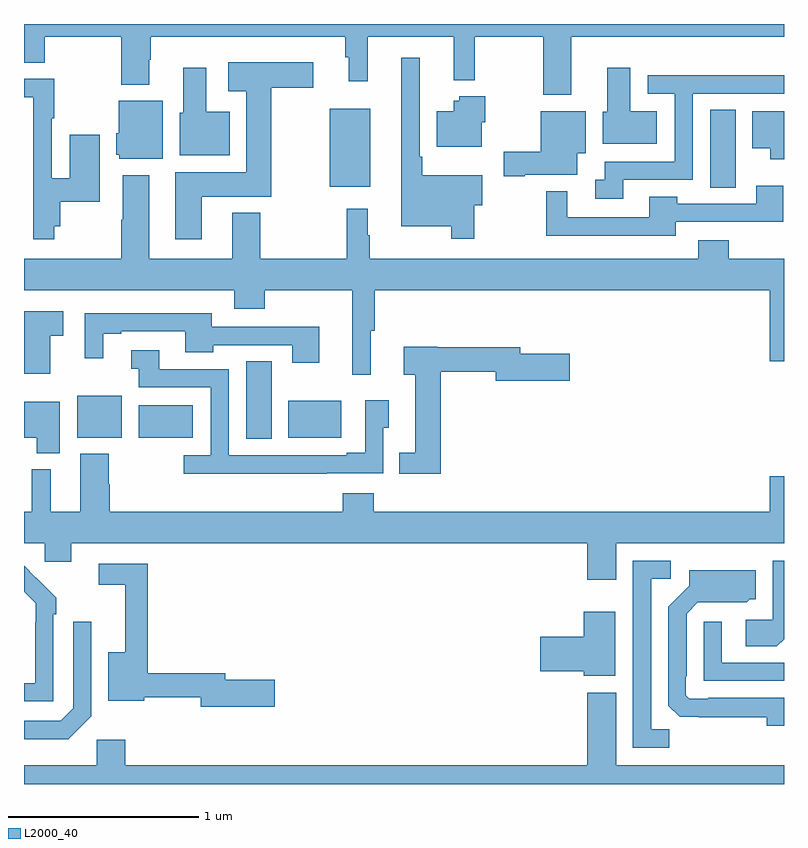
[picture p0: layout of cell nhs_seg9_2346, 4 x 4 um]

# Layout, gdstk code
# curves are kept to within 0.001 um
import gdstk
lib = gdstk.Library(unit=1e-6, precision=1e-09)
def R(c, l, rs):  # rectangles x0, y0, x1, y1
    for r in rs: c.add(gdstk.rectangle(r[:2], r[2:], *l))
def P(c, l, *ps):  # polygons
    for p in ps: c.add(gdstk.Polygon(p, *l))
L2000_40 = (2000, 40)

nhs_seg9_2346 = lib.new_cell('nhs_seg9_2346')
R(nhs_seg9_2346, L2000_40, [(246.17,1182.316,246.304,1182.725), (245.279,1182.323,245.515,1182.544), (245.603,1182.323,245.887,1182.493), (246.392,1182.323,246.67,1182.517), (248.612,1183.639,248.746,1184.048), (246.608,1183.643,246.823,1184.053)])
P(nhs_seg9_2346, L2000_40, [(247.879,1184.432),(249,1184.432),(249,1184.5),(245,1184.5),(245,1184.296),(245.109,1184.296),(245.109,1184.432),(245.512,1184.432),(245.512,1184.18),(245.659,1184.18),(245.659,1184.312),(245.667,1184.312),(245.667,1184.432),(246.691,1184.432),(246.691,1184.324),(246.71,1184.324),(246.71,1184.199),(246.809,1184.199),(246.809,1184.432),(247.262,1184.432),(247.262,1184.204),(247.372,1184.204),(247.372,1184.432),(247.732,1184.432),(247.732,1184.127),(247.879,1184.127)],
  [(247.369,1183.547),(247.411,1183.547),(247.411,1183.705),(247.096,1183.705),(247.096,1183.801),(247.083,1183.801),(247.083,1184.323),(246.986,1184.323),(246.986,1183.436),(247.248,1183.436),(247.248,1183.371),(247.369,1183.371)],
  [(245.935,1183.592),(246.3,1183.592),(246.3,1184.165),(246.523,1184.165),(246.523,1184.299),(246.075,1184.299),(246.075,1184.147),(246.17,1184.147),(246.17,1183.72),(245.795,1183.72),(245.795,1183.368),(245.935,1183.368)],
  [(246.082,1184.038),(245.959,1184.038),(245.959,1184.269),(245.837,1184.269),(245.837,1184.034),(245.819,1184.034),(245.819,1183.808),(246.082,1183.808)],
  [(248.329,1184.041),(248.191,1184.041),(248.191,1184.269),(248.069,1184.269),(248.069,1184.037),(248.045,1184.037),(248.045,1183.871),(248.329,1183.871)],
  [(248.155,1183.68),(248.52,1183.68),(248.52,1184.133),(249,1184.133),(249,1184.231),(248.283,1184.231),(248.283,1184.133),(248.424,1184.133),(248.424,1183.776),(248.057,1183.776),(248.057,1183.679),(248.007,1183.679),(248.007,1183.581),(248.155,1183.581)],
  [(245.158,1183.436),(245.19,1183.436),(245.19,1183.565),(245.398,1183.565),(245.398,1183.918),(245.24,1183.918),(245.24,1183.688),(245.145,1183.688),(245.145,1184.005),(245.158,1184.005),(245.158,1184.211),(245,1184.211),(245,1184.115),(245.049,1184.115),(245.049,1183.368),(245.158,1183.368)],
  [(247.408,1183.983),(247.428,1183.983),(247.428,1184.119),(247.29,1184.119),(247.29,1184.097),(247.262,1184.097),(247.262,1184.041),(247.172,1184.041),(247.172,1183.853),(247.408,1183.853)],
  [(245.731,1184.095),(245.498,1184.095),(245.498,1183.926),(245.486,1183.926),(245.486,1183.812),(245.502,1183.812),(245.502,1183.79),(245.731,1183.79)],
  [(247.636,1183.706),(247.912,1183.706),(247.912,1183.82),(247.957,1183.82),(247.957,1184.041),(247.721,1184.041),(247.721,1183.828),(247.524,1183.828),(247.524,1183.699),(247.636,1183.699)],
  [(249,1184.041),(248.834,1184.041),(248.834,1183.847),(248.927,1183.847),(248.927,1183.787),(249,1183.787)],
  [(246.826,1182.885),(246.845,1182.885),(246.845,1183.1),(248.924,1183.1),(248.924,1182.726),(249,1182.726),(249,1183.264),(248.709,1183.264),(248.709,1183.363),(248.549,1183.363),(248.549,1183.264),(246.82,1183.264),(246.82,1183.388),(246.808,1183.388),(246.808,1183.528),(246.699,1183.528),(246.699,1183.264),(246.243,1183.264),(246.243,1183.507),(246.095,1183.507),(246.095,1183.264),(245.659,1183.264),(245.659,1183.705),(245.519,1183.705),(245.519,1183.469),(245.512,1183.469),(245.512,1183.264),(245,1183.264),(245,1183.1),(246.107,1183.1),(246.107,1183.001),(246.267,1183.001),(246.267,1183.1),(246.728,1183.1),(246.728,1182.654),(246.826,1182.654)],
  [(248.431,1183.458),(248.995,1183.458),(248.995,1183.648),(248.855,1183.648),(248.855,1183.554),(248.439,1183.554),(248.439,1183.591),(248.291,1183.591),(248.291,1183.482),(247.858,1183.482),(247.858,1183.621),(247.749,1183.621),(247.749,1183.386),(248.431,1183.386)],
  [(245.137,1182.859),(245.206,1182.859),(245.206,1182.988),(245,1182.988),(245,1182.659),(245.137,1182.659)],
  [(246.553,1182.906),(245.989,1182.906),(245.989,1182.978),(245.319,1182.978),(245.319,1182.741),(245.416,1182.741),(245.416,1182.87),(245.512,1182.87),(245.512,1182.882),(245.849,1182.882),(245.849,1182.773),(245.997,1182.773),(245.997,1182.81),(246.413,1182.81),(246.413,1182.717),(246.553,1182.717)],
  [(247.193,1182.67),(247.484,1182.67),(247.484,1182.623),(247.873,1182.623),(247.873,1182.765),(247.612,1182.765),(247.612,1182.799),(247.176,1182.799),(247.176,1182.802),(246.999,1182.802),(246.999,1182.655),(247.058,1182.655),(247.058,1182.244),(246.976,1182.244),(246.976,1182.134),(247.193,1182.134)],
  [(246.593,1182.135),(246.891,1182.135),(246.891,1182.375),(246.919,1182.375),(246.919,1182.52),(246.795,1182.52),(246.795,1182.244),(246.698,1182.244),(246.698,1182.231),(246.078,1182.231),(246.078,1182.684),(245.713,1182.684),(245.713,1182.783),(245.565,1182.783),(245.565,1182.686),(245.604,1182.686),(245.604,1182.588),(245.982,1182.588),(245.982,1182.231),(245.841,1182.231),(245.841,1182.134),(246.593,1182.134)],
  [(245.188,1182.511),(245,1182.511),(245,1182.323),(245.066,1182.323),(245.066,1182.242),(245.188,1182.242)],
  [(248.116,1181.768),(249,1181.768),(249,1182.121),(248.924,1182.121),(248.924,1181.932),(246.842,1181.932),(246.842,1182.031),(246.677,1182.031),(246.677,1181.932),(245.45,1181.932),(245.45,1182.077),(245.445,1182.077),(245.445,1182.238),(245.297,1182.238),(245.297,1181.932),(245.14,1181.932),(245.14,1182.157),(245.042,1182.157),(245.042,1181.932),(245,1181.932),(245,1181.768),(245.109,1181.768),(245.109,1181.67),(245.248,1181.67),(245.248,1181.768),(247.964,1181.768),(247.964,1181.574),(248.116,1181.574)],
  [(248.397,1180.787),(248.301,1180.787),(248.301,1181.58),(248.404,1181.58),(248.404,1181.676),(248.205,1181.676),(248.205,1180.692),(248.397,1180.692)],
  [(249,1181.261),(249,1181.676),(248.94,1181.676),(248.94,1181.364),(248.799,1181.364),(248.799,1181.224),(248.963,1181.224)],
  [(246.319,1181.048),(246.058,1181.048),(246.058,1181.084),(245.651,1181.084),(245.651,1181.658),(245.394,1181.658),(245.394,1181.55),(245.534,1181.55),(245.534,1181.194),(245.444,1181.194),(245.444,1180.937),(245.632,1180.937),(245.632,1180.956),(245.93,1180.956),(245.93,1180.906),(246.319,1180.906)],
  [(245.154,1181.393),(245.169,1181.393),(245.169,1181.481),(245,1181.648),(245,1181.512),(245.061,1181.451),(245.061,1181.351),(245.058,1181.351),(245.058,1181.031),(245,1181.031),(245,1180.935),(245.154,1180.935)],
  [(249,1180.953),(248.602,1180.953),(248.602,1180.95),(248.502,1180.95),(248.484,1180.968),(248.484,1181.068),(248.487,1181.068),(248.487,1181.397),(248.547,1181.457),(248.804,1181.456),(248.82,1181.472),(248.851,1181.472),(248.851,1181.626),(248.501,1181.626),(248.501,1181.544),(248.391,1181.434),(248.391,1180.912),(248.45,1180.853),(248.908,1180.852),(248.908,1180.806),(249,1180.806)],
  [(248.113,1181.407),(247.946,1181.407),(247.946,1181.276),(247.716,1181.276),(247.716,1181.093),(247.946,1181.093),(247.946,1181.069),(248.113,1181.069)],
  [(245.355,1180.857),(245.355,1181.353),(245.259,1181.353),(245.259,1180.899),(245.193,1180.833),(245,1180.833),(245,1180.736),(245.234,1180.736)],
  [(249,1181.139),(248.673,1181.139),(248.673,1181.353),(248.577,1181.353),(248.577,1181.043),(249,1181.043)],
  [(249,1180.6),(248.116,1180.6),(248.116,1180.981),(247.964,1180.981),(247.964,1180.6),(245.534,1180.6),(245.534,1180.732),(245.382,1180.732),(245.382,1180.6),(245,1180.6),(245,1180.5),(249,1180.5)])

lib.write_gds('nhs_seg9_2346.gds')
